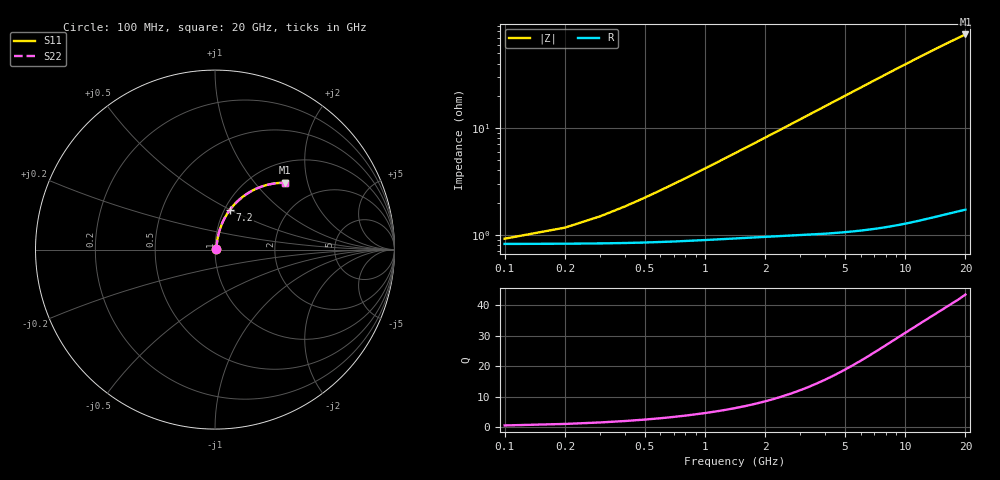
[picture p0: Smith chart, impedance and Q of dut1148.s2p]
! Touchstone file exported from HFSS 2026.1.0
!  File:  C:/ffzhzh/LocalFiles/Ansys_Project_Files/temp_train_BSMRDL_1148_1783175593_22436.aedt
!  Generated:  10:34:24 PM Jul  4, 2026
!  Design:  BSMRDL
!  Project:  temp_train_BSMRDL_1148_1783175593_22436
! Variables:
!  h_bsmrdl = 2.31um
!  h_ox = 20um
!  h_rdl = 5um
!  h_sub = 80um
!  h_tmrdl = 5um
!  h_tsv = 80um
!  h_via = 3um
!  l_bsmrdl = 542.49um
!  l_sub = 942.49um
!  l_tmrdl = 200um
!  m_sub = 200um
!  pitch = 50.29um
!  r_tsv = 6um
!  s_tmrdl = 10um
!  w_bsmrdl = 10.19um
!  w_sub = 500um
!  w_tmrdl = 12um
!  x_tsv_center1 = 206um
!  x_tsv_center2 = 758.68um
!  x_tsv_center3 = 970.68um
!  x_tsv_center4 = 1523.36um
!  x_tsv_center5 = 1735.36um
!  x_tsv_center6 = 2288.04um
# GHz S MA R 50.000000
! Terminal data exported
! Port[1] = BSM_RDL1_1_T1
! Port[2] = BSM_RDL1_1_T2
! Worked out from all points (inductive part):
!   200 points, 100 MHz to 20 GHz, reference 50 ohm
!   read as one part in series: L = 648 pH near 700 MHz
!   highest Q = 43.5 at 20 GHz (marker M1), where L = 595 pH
!   S11 on the Smith chart (normalised r, x): 100 MHz: 1.02, +0.01; 7.2 GHz: 1.06, +0.50; 20 GHz: 1.39, +1.45
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0.1  0.008916 23.5  0.9918 -0.3  0.9918 -0.3  0.008916 23.5
! Gamma 0 0 0 0
! Port Impedance 50 0 50 0
0.4  0.01654 58.7  0.9916 -1.1  0.9916 -1.1  0.01654 58.7
0.5  0.01971 63.4  0.9914 -1.3  0.9914 -1.3  0.01971 63.4
0.6  0.02297 66.7  0.9913 -1.6  0.9913 -1.6  0.02297 66.7
0.7  0.02628 69.1  0.9911 -1.8  0.9911 -1.8  0.02628 69.1
0.9  0.03297 72.2  0.9907 -2.4  0.9907 -2.4  0.03297 72.2
1.2  0.04306 74.8  0.9901 -3.1  0.9901 -3.1  0.04306 74.8
1.4  0.0498 75.8  0.9897 -3.6  0.9897 -3.6  0.0498 75.8
1.7  0.05991 76.6  0.9889 -4.4  0.9889 -4.4  0.05991 76.6
2.2  0.07674 77.2  0.9876 -5.7  0.9876 -5.7  0.07674 77.2
2.8  0.09688 77.0  0.9856 -7.2  0.9856 -7.2  0.09688 77.0
3.5  0.1202 76.3  0.9829 -9.0  0.9829 -9.0  0.1202 76.3
4.2  0.1434 75.2  0.9796 -10.7  0.9796 -10.7  0.1434 75.2
5  0.1694 73.8  0.9753 -12.7  0.9753 -12.7  0.1694 73.8
5.9  0.1982 72.0  0.9696 -14.9  0.9696 -14.9  0.1982 72.0
6.8  0.2263 70.1  0.9632 -17.1  0.9632 -17.1  0.2263 70.1
7.2  0.2386 69.3  0.9602 -18.1  0.9602 -18.1  0.2386 69.3
8.6  0.2802 66.3  0.9485 -21.4  0.9485 -21.4  0.2802 66.3
10.1  0.3226 63.1  0.9346 -24.8  0.9346 -24.8  0.3226 63.0
13.4  0.4067 56.2  0.9006 -32.0  0.9006 -32.0  0.4067 56.1
16.7  0.4784 49.7  0.8643 -38.7  0.8643 -38.7  0.4784 49.7
20  0.5382 43.8  0.8284 -44.7  0.8284 -44.7  0.5383 43.7
